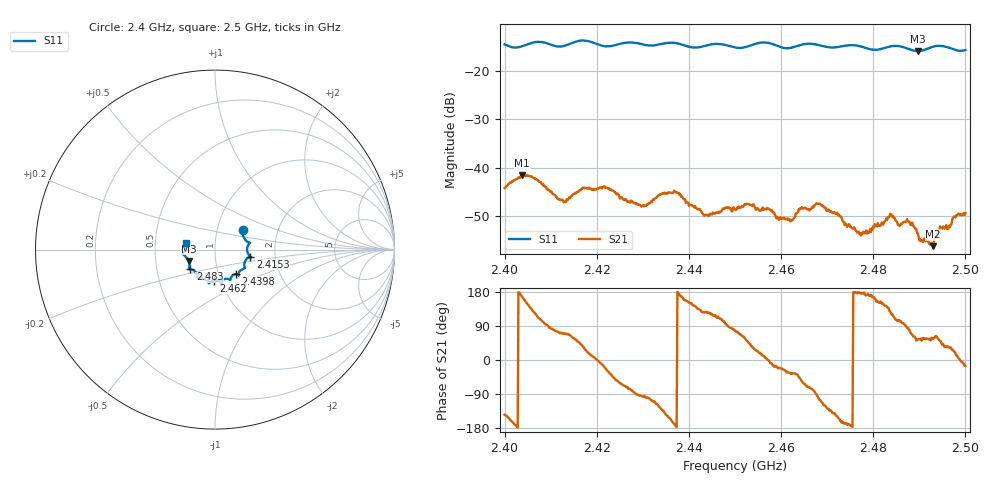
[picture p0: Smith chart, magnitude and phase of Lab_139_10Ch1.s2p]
# Hz S RI R 50
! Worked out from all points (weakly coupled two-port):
!   601 points, 2.4 GHz to 2.5 GHz, reference 50 ohm
!   highest |S21| = -41.56 dB at 2.4038 GHz (marker M1); lowest = -56.3 dB at 2.493 GHz (marker M2)
!   lowest |S11| = -15.9 dB at 2.4897 GHz (marker M3), VSWR 1.38, Z = 36.9 - j4.82 ohm
!   |S11| at or under -10 dB: start of sweep to end of sweep
!   S12 and S22 are empty: the file has one direction only
!   S11 on the Smith chart (normalised r, x): 2.4 GHz: 1.33, +0.29; 2.4153 GHz: 1.48, -0.12; 2.4398 GHz: 1.21, -0.34; 2.462 GHz: 0.93, -0.33; 2.483 GHz: 0.74, -0.17; 2.5 GHz: 0.72, +0.06
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2.4e9  0.1551 0.1066  -0.00499 -0.00356  0 0  0 0
2.403833e9  0.1734 0.0495  -0.00814 0.00189  0 0  0 0
2.412667e9  0.1797 -0.0103  0.0016 0.00422  0 0  0 0
2.415333e9  0.1963 -0.0388  0.00322 0.00442  0 0  0 0
2.416667e9  0.2018 -0.0428  0.00459 0.0039  0 0  0 0
2.421833e9  0.1687 -0.0622  0.00572 -0.00223  0 0  0 0
2.430167e9  0.1513 -0.1108  -0.000525 -0.00395  0 0  0 0
2.433333e9  0.1311 -0.1336  -0.00256 -0.00446  0 0  0 0
2.437333e9  0.1313 -0.1425  -0.00557 -0.000282  0 0  0 0
2.439833e9  0.1153 -0.1364  -0.00389 0.0019  0 0  0 0
2.443833e9  0.0862 -0.162  -0.00188 0.00265  0 0  0 0
2.45e9  0.0648 -0.1626  0.00083 0.00363  0 0  0 0
2.453e9  0.0381 -0.1767  0.00296 0.00295  0 0  0 0
2.462e9  -0.00536 -0.1731  0.00231 -0.00154  0 0  0 0
2.466667e9  -0.0343 -0.1875  0.000909 -0.00371  0 0  0 0
2.468667e9  -0.0383 -0.1783  -0.00133 -0.00391  0 0  0 0
2.477167e9  -0.0964 -0.1519  -0.00209 0.000134  0 0  0 0
2.483e9  -0.1376 -0.1096  -0.00221 0.00182  0 0  0 0
2.483333e9  -0.1401 -0.1093  -0.00223 0.00206  0 0  0 0
2.489667e9  -0.1474 -0.0636  0.00121 0.0017  0 0  0 0
2.493e9  -0.1761 -0.0273  0.000862 0.00127  0 0  0 0
2.5e9  -0.1598 0.0393  0.00326 -0.000885  0 0  0 0
